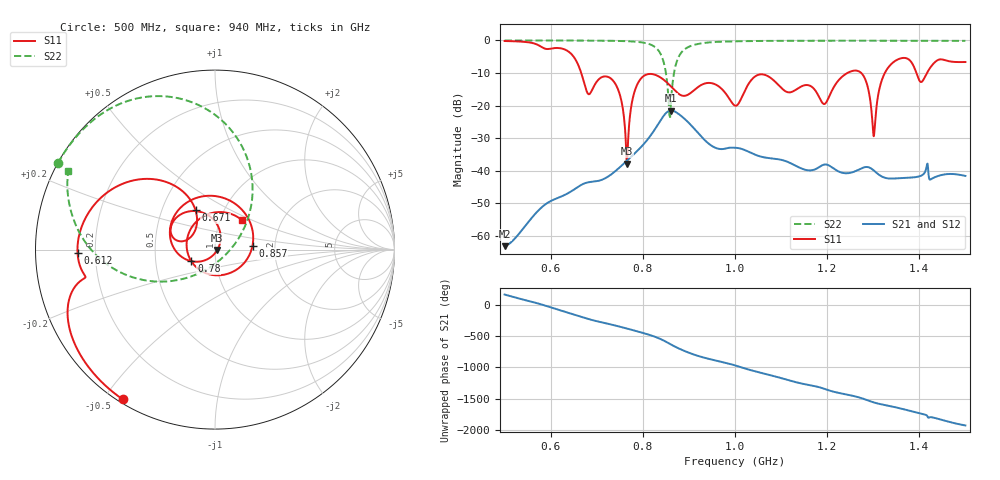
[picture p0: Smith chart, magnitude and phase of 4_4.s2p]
! TOUCHSTONE file generated by CST MICROWAVE STUDIO
! Date and time: Sat Nov 14 19:58:25 2020
! Project name: Scenario_1_Planar_Body_Tissue_Out_of_Line.cst
! Parameters = {dy1=294.1; L_HA=400; Ltissue=700; MT=2.54; Rad_Dielectric=30; Rad_Lower=7.3; Rad_Upper=30; Wtissue=700; a_HA=580; a_WG=246; b_HA=500; b_WG=121; c_HA=0; c_WG=187; d_feed=85; dx1=693; h_feed=15; h_lower=18; h_upper=40; hfat=3; hgap=25; hmuscle=50; hskin=1.5}
! Header version: 2018
! Port assignment regex: !\s*Touchstone port\s*([0-9]+)\s*=\s*(CST MWS port|CST DS port)\s*([0-9]+|Zmin|Zmax)\s*\(\"(.*)\"\)(\s*mode\s*([0-9]+))?.*
! Touchstone port assignment:
! Touchstone port 1 = CST MWS port 1 ("")
! Touchstone port 2 = CST MWS port 2 ("")
# GHz S DB R 50
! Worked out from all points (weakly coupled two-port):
!   1003 points, 500 MHz to 1.5 GHz, reference 50 ohm
!   highest |S21| = -21.52 dB at 861 MHz (marker M1); lowest = -63.2 dB at 500 MHz (marker M2)
!   lowest |S11| = -37.9 dB at 765 MHz (marker M3), VSWR 1.03, Z = 51.3 - j0.23 ohm
!   |S11| at or under -10 dB: 666.3 MHz to 1.244 GHz (577.6 MHz wide, 60.5 % of centre); 1.274 GHz to 1.325 GHz (51.14 MHz wide, 3.94 % of centre); 1.394 GHz to 1.417 GHz (23.05 MHz wide, 1.64 % of centre)
!   |S22| runs from -24.0 to 0.0 dB; largest |S21 - S12| = 6.8e-05
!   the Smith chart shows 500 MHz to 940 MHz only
!   S11 on the Smith chart (normalised r, x): 500 MHz: 0.01, -0.56; 612 MHz: 0.13, -0.01; 671 MHz: 0.74, +0.34; 780 MHz: 0.76, -0.10; 857 MHz: 1.53, +0.07; 940 MHz: 1.27, +0.44
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0.5  -0.18 -121.7  -63.17 168.4  -63.17 168.4  -0.01 151.2
0.612  -2.31 -178.7  -48.55 -66.1  -48.55 -66.1  -0.02 143.2
0.667  -10.32 116.2  -44.31 170.0  -44.31 170.0  -0.04 138.4
0.671  -12.23 116.3  -44.03 160.7  -44.03 160.7  -0.04 138.0
0.738  -12.82 112.3  -40.41 35.4  -40.40 35.4  -0.13 129.7
0.765  -37.86 -10.1  -37.00 -16.1  -37.00 -16.1  -0.23 124.5
0.78  -16.69 -153.8  -35.01 -45.9  -35.01 -45.9  -0.35 120.5
0.834  -11.01 69.0  -25.54 -171.0  -25.54 -171.0  -3.11 84.9
0.857  -13.55 5.9  -21.63 103.4  -21.63 103.4  -21.29 0.4
0.861  -14.12 -6.4  -21.52 86.8  -21.52 86.8  -19.39 -108.2
0.881  -16.70 -77.4  -22.94 12.8  -22.94 12.8  -4.23 -172.9
0.94  -13.06 47.9  -31.35 -138.2  -31.35 -138.2  -0.66 151.8
1  -20.02 -158.8  -32.94 112.0  -32.94 112.0  -0.27 140.3
1.052  -10.49 -7.9  -35.50 1.2  -35.50 1.2  -0.16 134.3
1.105  -15.15 -164.9  -36.83 -102.7  -36.83 -102.7  -0.12 129.4
1.167  -14.27 -20.4  -39.86 147.1  -39.86 147.1  -0.10 124.3
1.203  -17.65 149.6  -38.32 72.9  -38.32 72.9  -0.09 121.5
1.27  -9.57 -3.4  -39.56 -43.7  -39.56 -43.7  -0.08 116.4
1.301  -29.42 5.8  -39.91 -122.2  -39.91 -122.2  -0.09 114.1
1.334  -8.05 33.4  -42.39 -177.6  -42.39 -177.6  -0.09 111.6
1.382  -6.53 -35.8  -42.10 98.6  -42.10 98.6  -0.09 107.9
1.5  -6.63 -48.0  -41.61 -132.0  -41.61 -132.0  -0.13 98.0
